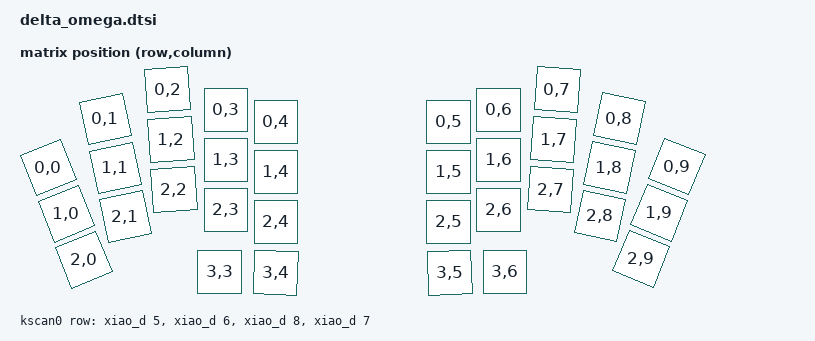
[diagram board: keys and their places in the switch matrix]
#include <dt-bindings/zmk/matrix_transform.h>
#include <physical_layouts.dtsi>
#include <behaviors/rgbled_widget.dtsi>
/ {
	chosen {
		zmk,kscan = &kscan0;
		zmk,physical-layout = &physical_layout0;
    };

	default_transform: keymap_transform_0 {
		compatible = "zmk,matrix-transform";
		columns = <10>;
		rows = <4>;
		map = <
                RC(0,0) RC(0,1) RC(0,2) RC(0,3) RC(0,4)    RC(0,5) RC(0,6) RC(0,7) RC(0,8) RC(0,9)
                RC(1,0) RC(1,1) RC(1,2) RC(1,3) RC(1,4)    RC(1,5) RC(1,6) RC(1,7) RC(1,8) RC(1,9)
                RC(2,0) RC(2,1) RC(2,2) RC(2,3) RC(2,4)    RC(2,5) RC(2,6) RC(2,7) RC(2,8) RC(2,9)
                                        RC(3,3) RC(3,4)    RC(3,5) RC(3,6)
		>;
	};

	kscan0: kscan {
        compatible = "zmk,kscan-gpio-matrix";
        wakeup-source;

        diode-direction = "col2row";
        row-gpios
            = <&xiao_d 5 (GPIO_ACTIVE_HIGH | GPIO_PULL_DOWN)>
            , <&xiao_d 6 (GPIO_ACTIVE_HIGH | GPIO_PULL_DOWN)>
            , <&xiao_d 8 (GPIO_ACTIVE_HIGH | GPIO_PULL_DOWN)>
            , <&xiao_d 7 (GPIO_ACTIVE_HIGH | GPIO_PULL_DOWN)>
        ;

	};

    physical_layout0: physical_layout_0 {
        compatible = "zmk,physical-layout";
        display-name = "Default Layout";
        kscan = <&kscan0>;
        transform = <&default_transform>;
        // 34-key splay built for Kailh PG1316S (ultra-low-profile SMD,
        // 14 x 14.5 mm body, ~14 mm pitch). Coordinates are normalized to a
        // 1u cell (100 = one key pitch); keycaps fill the cell (95 x 95) to
        // show the small inter-cap gap typical of low-profile caps.
        keys  //                     w  h    x    y     rot    rx     ry
            = <&key_physical_attrs  95  95  15  158 (-2200)   65   208>
            , <&key_physical_attrs  95  95 129   62 (-1200)  179   112>
            , <&key_physical_attrs  95  95 253    3  (-400)  303    53>
            , <&key_physical_attrs  95  95 370   44      0    0     0>
            , <&key_physical_attrs  95  95 470   68      0    0     0>
            , <&key_physical_attrs  95  95 815   68      0    0     0>
            , <&key_physical_attrs  95  95 915   44      0    0     0>
            , <&key_physical_attrs  95  95 1032    3    400 1082    53>
            , <&key_physical_attrs  95  95 1156   62   1200 1206   112>
            , <&key_physical_attrs  95  95 1270  158   2200 1320   208>
            , <&key_physical_attrs  95  95  51  251 (-2200)  101   301>
            , <&key_physical_attrs  95  95 149  160 (-1200)  199   210>
            , <&key_physical_attrs  95  95 260  103  (-400)  310   153>
            , <&key_physical_attrs  95  95 370  144      0    0     0>
            , <&key_physical_attrs  95  95 470  168      0    0     0>
            , <&key_physical_attrs  95  95 815  168      0    0     0>
            , <&key_physical_attrs  95  95 915  144      0    0     0>
            , <&key_physical_attrs  95  95 1025  103    400 1075   153>
            , <&key_physical_attrs  95  95 1136  160   1200 1186   210>
            , <&key_physical_attrs  95  95 1235  251   2200 1285   301>
            , <&key_physical_attrs  95  95  86  343 (-2200)  136   393>
            , <&key_physical_attrs  95  95 169  257 (-1200)  219   307>
            , <&key_physical_attrs  95  95 266  203  (-400)  316   253>
            , <&key_physical_attrs  95  95 370  244      0    0     0>
            , <&key_physical_attrs  95  95 470  268      0    0     0>
            , <&key_physical_attrs  95  95 815  268      0    0     0>
            , <&key_physical_attrs  95  95 915  244      0    0     0>
            , <&key_physical_attrs  95  95 1019  203    400 1069   253>
            , <&key_physical_attrs  95  95 1117  257   1200 1167   307>
            , <&key_physical_attrs  95  95 1199  343   2200 1249   393>
            , <&key_physical_attrs  95  95 357  368      0    0     0>
            , <&key_physical_attrs  95  95 469  370    200  519   420>
            , <&key_physical_attrs  95  95 817  370  (-200)  867   420>
            , <&key_physical_attrs  95  95 928  368      0    0     0>
            ;
    };

    aliases {
        led-red = &led0;
        led-green = &led1;
        led-blue = &led2;
    };

    leds {
        compatible = "gpio-leds";
        status = "okay";
        led0: led_0 {
            gpios = <&gpio1 15 GPIO_ACTIVE_HIGH>;
        };
        led1: led_1 {
            gpios = <&gpio1 14 GPIO_ACTIVE_HIGH>;
        };
        led2: led_2 {
            gpios = <&gpio0 10 GPIO_ACTIVE_HIGH>;
        };
    };
};

&uicr {
    nfct-pins-as-gpios;
};

&xiao_i2c {
    status = "disabled";
};

&xiao_serial {
    status = "disabled";
};
